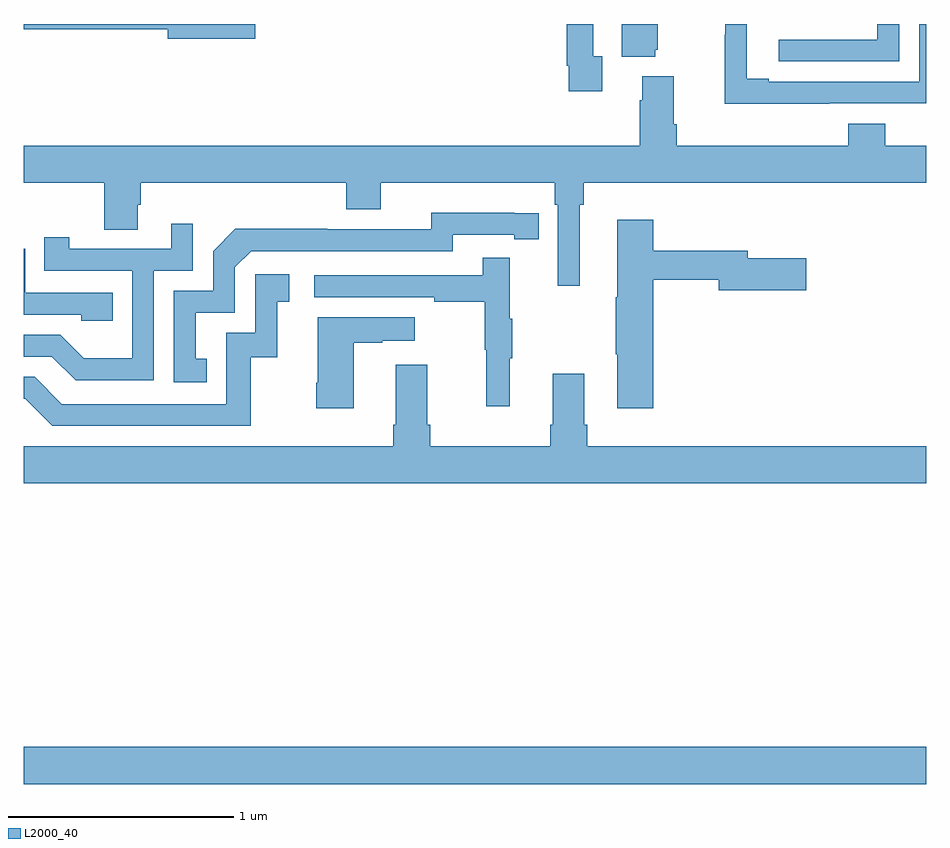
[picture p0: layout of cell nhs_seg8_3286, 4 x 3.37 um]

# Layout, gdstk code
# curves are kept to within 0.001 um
import gdstk
lib = gdstk.Library(unit=1e-6, precision=1e-09)
def R(c, l, rs):  # rectangles x0, y0, x1, y1
    for r in rs: c.add(gdstk.rectangle(r[:2], r[2:], *l))
def P(c, l, *ps):  # polygons
    for p in ps: c.add(gdstk.Polygon(p, *l))
L2000_40 = (2000, 40)

nhs_seg8_3286 = lib.new_cell('nhs_seg8_3286')
R(nhs_seg8_3286, L2000_40, [(315,1084.532,319,1084.696)])
P(nhs_seg8_3286, L2000_40, [(318.879,1087.9),(318.783,1087.9),(318.783,1087.83),(318.345,1087.83),(318.345,1087.734),(318.879,1087.734)],
  [(316.027,1087.9),(315,1087.9),(315,1087.876),(315.638,1087.876),(315.638,1087.834),(316.027,1087.834)],
  [(317.563,1087.758),(317.523,1087.758),(317.523,1087.9),(317.407,1087.9),(317.407,1087.714),(317.415,1087.714),(317.415,1087.602),(317.563,1087.602)],
  [(318.569,1087.548),(319,1087.548),(319,1087.9),(318.969,1087.9),(318.969,1087.644),(318.301,1087.644),(318.301,1087.657),(318.204,1087.657),(318.204,1087.9),(318.108,1087.9),(318.108,1087.853),(318.106,1087.853),(318.106,1087.547),(318.569,1087.547)],
  [(317.798,1087.785),(317.809,1087.785),(317.809,1087.9),(317.651,1087.9),(317.651,1087.754),(317.798,1087.754)],
  [(317.464,1087.1),(317.483,1087.1),(317.483,1087.196),(319,1087.196),(319,1087.36),(318.818,1087.36),(318.818,1087.459),(318.653,1087.459),(318.653,1087.36),(317.894,1087.36),(317.894,1087.456),(317.881,1087.456),(317.881,1087.669),(317.741,1087.669),(317.741,1087.562),(317.729,1087.562),(317.729,1087.36),(315,1087.36),(315,1087.196),(315.358,1087.196),(315.358,1086.988),(315.505,1086.988),(315.505,1087.098),(315.518,1087.098),(315.518,1087.196),(316.43,1087.196),(316.43,1087.079),(316.582,1087.079),(316.582,1087.196),(317.354,1087.196),(317.354,1087.1),(317.367,1087.1),(317.367,1086.741),(317.464,1086.741)],
  [(315.812,1086.417),(315.763,1086.417),(315.763,1086.621),(315.936,1086.621),(315.936,1086.822),(316.008,1086.894),(316.902,1086.894),(316.902,1086.966),(317.174,1086.966),(317.174,1086.946),(317.282,1086.946),(317.282,1087.062),(316.806,1087.063),(316.806,1086.99),(316.346,1086.99),(316.346,1086.992),(315.938,1086.992),(315.84,1086.894),(315.84,1086.717),(315.666,1086.717),(315.666,1086.312),(315.812,1086.312)],
  [(317.789,1086.766),(318.08,1086.766),(318.08,1086.719),(318.469,1086.719),(318.469,1086.861),(318.208,1086.861),(318.208,1086.895),(317.789,1086.895),(317.789,1087.033),(317.63,1087.033),(317.63,1086.689),(317.623,1086.689),(317.623,1086.436),(317.63,1086.436),(317.63,1086.198),(317.789,1086.198)],
  [(315.576,1086.807),(315.75,1086.807),(315.75,1087.015),(315.653,1087.015),(315.653,1086.903),(315.202,1086.903),(315.202,1086.955),(315.091,1086.955),(315.091,1086.807),(315.48,1086.807),(315.48,1086.418),(315.266,1086.418),(315.162,1086.522),(315,1086.522),(315,1086.426),(315.125,1086.426),(315.23,1086.321),(315.576,1086.321)],
  [(315.395,1086.708),(315.006,1086.708),(315.006,1086.903),(315,1086.903),(315,1086.612),(315.255,1086.612),(315.255,1086.585),(315.395,1086.585)],
  [(317.153,1086.419),(317.164,1086.419),(317.164,1086.593),(317.153,1086.593),(317.153,1086.865),(317.035,1086.865),(317.035,1086.786),(316.287,1086.786),(316.287,1086.69),(316.819,1086.69),(316.819,1086.67),(317.043,1086.67),(317.043,1086.456),(317.05,1086.456),(317.05,1086.207),(317.153,1086.207)],
  [(316.006,1086.423),(316.124,1086.423),(316.124,1086.669),(316.177,1086.669),(316.177,1086.79),(316.026,1086.79),(316.026,1086.531),(315.897,1086.531),(315.897,1086.216),(315.168,1086.216),(315.048,1086.336),(315,1086.336),(315,1086.24),(315.006,1086.24),(315.126,1086.12),(316.006,1086.12)],
  [(316.462,1086.487),(316.589,1086.487),(316.589,1086.497),(316.732,1086.497),(316.732,1086.601),(316.304,1086.601),(316.304,1086.31),(316.297,1086.31),(316.297,1086.198),(316.462,1086.198)],
  [(319,1086.028),(317.498,1086.028),(317.498,1086.124),(317.485,1086.124),(317.485,1086.349),(317.345,1086.349),(317.345,1086.124),(317.333,1086.124),(317.333,1086.028),(316.802,1086.028),(316.802,1086.124),(316.789,1086.124),(316.789,1086.391),(316.649,1086.391),(316.649,1086.124),(316.637,1086.124),(316.637,1086.028),(315,1086.028),(315,1085.864),(319,1085.864)])

lib.write_gds('nhs_seg8_3286.gds')
